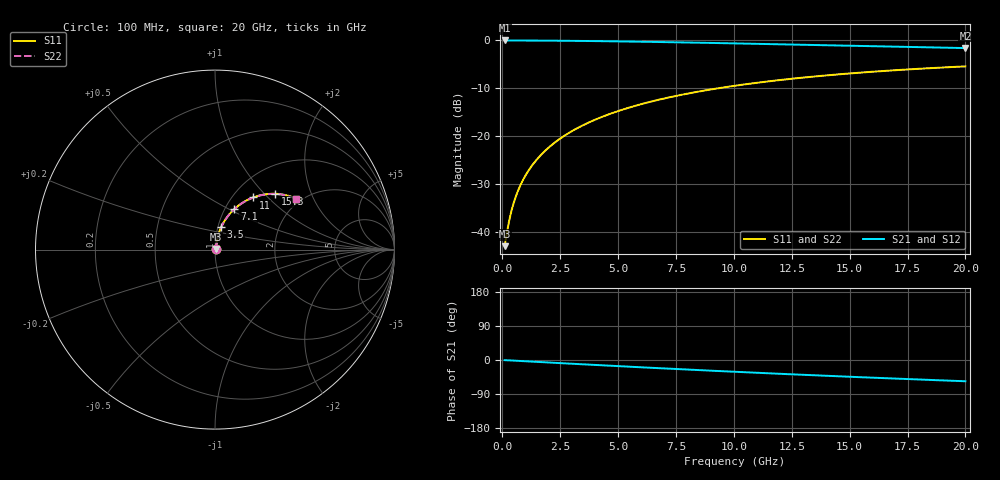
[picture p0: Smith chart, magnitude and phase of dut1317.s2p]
! Touchstone file exported from HFSS 2026.1.0
!  File:  C:/ffzhzh/LocalFiles/Ansys_Project_Files/temp_train_TMRDL_1317_1783164955_22436.aedt
!  Generated:  07:37:19 PM Jul  4, 2026
!  Design:  TMRDL
!  Project:  temp_train_TMRDL_1317_1783164955_22436
! Variables:
!  h_bsmrdl = 2um
!  h_ox = 20um
!  h_rdl = 5um
!  h_sub = 80um
!  h_tmrdl = 4.88um
!  h_tsv = 80um
!  h_via = 3um
!  l_bsmrdl = 300um
!  l_sub = 1257.24um
!  l_tmrdl = 857.24um
!  m_sub = 200um
!  pitch = 37.06um
!  r_tsv = 6um
!  s_tmrdl = 10um
!  w_bsmrdl = 18um
!  w_sub = 500um
!  w_tmrdl = 10.37um
!  x_tsv_center1 = 862.425um
!  x_tsv_center2 = 1180.425um
!  x_tsv_center3 = 2048.035um
!  x_tsv_center4 = 2366.035um
!  x_tsv_center5 = 3233.645um
!  x_tsv_center6 = 3551.645um
# GHz S MA R 50.000000
! Terminal data exported
! Port[1] = TM_RDL1_1_T1
! Port[2] = TM_RDL1_1_T2
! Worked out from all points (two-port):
!   200 points, 100 MHz to 20 GHz, reference 50 ohm
!   highest |S21| = -0.05 dB at 100 MHz (marker M1); lowest = -1.6 dB at 20 GHz (marker M2)
!   |S21| within 3 dB of the highest: start of sweep to end of sweep
!   lowest |S11| = -42.9 dB at 100 MHz (marker M3), VSWR 1.01, Z = 50.6 + j0.399 ohm
!   |S11| at or under -10 dB: start of sweep to 9.336 GHz
!   |S22| runs from -42.9 to -5.5 dB; largest |S21 - S12| = 4.1e-15
!   S11 on the Smith chart (normalised r, x): 100 MHz: 1.01, +0.01; 3.5 GHz: 1.04, +0.27; 7.1 GHz: 1.11, +0.53; 11 GHz: 1.24, +0.83; 15.3 GHz: 1.47, +1.15; 20 GHz: 1.88, +1.49
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0.1  0.007162 33.4  0.994 -0.3  0.994 -0.3  0.007162 33.4
! Gamma 0 0 0 0
! Port Impedance 50 0 50 0
0.2  0.009965 51.9  0.9939 -0.7  0.9939 -0.7  0.009965 51.9
0.3  0.01332 61.4  0.9938 -1.0  0.9938 -1.0  0.01332 61.4
0.4  0.01687 66.7  0.9936 -1.3  0.9936 -1.3  0.01687 66.7
0.5  0.02049 70.1  0.9934 -1.7  0.9934 -1.7  0.02049 70.1
0.6  0.02415 72.3  0.9932 -2.0  0.9932 -2.0  0.02415 72.3
0.8  0.03152 75.1  0.9928 -2.7  0.9928 -2.7  0.03152 75.1
1.1  0.04266 77.0  0.9922 -3.7  0.9922 -3.7  0.04266 77.0
1.6  0.06127 77.9  0.9909 -5.3  0.9909 -5.3  0.06127 77.9
2.1  0.07981 77.5  0.9892 -6.9  0.9892 -6.9  0.07981 77.5
2.7  0.1018 76.5  0.9866 -8.9  0.9866 -8.9  0.1018 76.5
3.5  0.1307 74.5  0.9823 -11.5  0.9823 -11.5  0.1307 74.5
5  0.1828 70.4  0.9723 -16.2  0.9723 -16.2  0.1828 70.4
6.8  0.2413 65.3  0.9576 -21.7  0.9576 -21.7  0.2413 65.2
7.1  0.2507 64.4  0.9549 -22.6  0.9549 -22.6  0.2507 64.4
8.5  0.2926 60.5  0.9419 -26.7  0.9419 -26.7  0.2926 60.5
10.1  0.337 56.2  0.926 -31.3  0.926 -31.3  0.337 56.1
11  0.3604 53.8  0.9168 -33.7  0.9168 -33.7  0.3604 53.7
13.4  0.4172 47.6  0.8919 -40.2  0.8919 -40.2  0.4172 47.5
15.3  0.4565 42.9  0.8724 -45.0  0.8724 -45.0  0.4565 42.8
16.7  0.4824 39.6  0.8584 -48.4  0.8584 -48.4  0.4824 39.5
20  0.5339 32.2  0.8279 -56.1  0.8279 -56.1  0.5339 32.0
